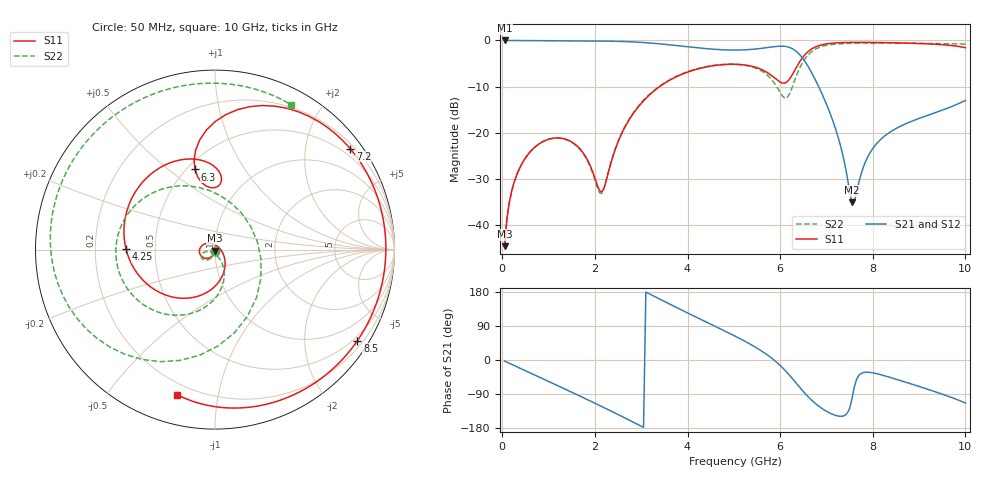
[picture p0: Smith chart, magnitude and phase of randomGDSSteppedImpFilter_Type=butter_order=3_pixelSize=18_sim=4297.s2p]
! freq	dB(S11)	phase(S11)	dB(S12)	phase(S12)
!  dB(S21)	phase(S21)	dB(S22)	phase(S22)
!S-par simulation data
#  GHz  S  DB  R 50
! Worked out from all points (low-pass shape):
!   200 points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, 50 MHz to 10 GHz, reference 50 ohm
!   highest |S21| = -0.01 dB at 50 MHz (marker M1); lowest = -35.1 dB at 7.55 GHz (marker M2)
!   |S21| within 3 dB of the highest: start of sweep to 6.414 GHz
!   lowest |S11| = -44.6 dB at 50 MHz (marker M3), VSWR 1.01, Z = 50 - j0.591 ohm
!   |S11| at or under -10 dB: start of sweep to 3.398 GHz
!   |S22| runs from -44.5 to -0.6 dB; largest |S21 - S12| = 0
!   S11 on the Smith chart (normalised r, x): 50 MHz: 1.00, -0.01; 4.25 GHz: 0.34, +0.00; 6.3 GHz: 0.55, +0.62; 7.2 GHz: 0.31, +2.98; 8.5 GHz: 0.38, -3.38; 10 GHz: 0.14, -0.76
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0.05  -44.55 -93.3  -0.01 -2.9  -0.01 -2.9  -44.55 -92.6
0.2  -32.75 -103.1  -0.02 -11.4  -0.02 -11.4  -32.74 -100.2
0.6  -24.15 -129.5  -0.06 -34.0  -0.06 -34.0  -24.15 -120.3
1.2  -21.11 -169.7  -0.11 -67.9  -0.11 -67.9  -21.15 -148.5
1.75  -24.41 145.9  -0.12 -99.4  -0.12 -99.4  -24.56 -167.2
2.15  -32.84 45.4  -0.14 -122.9  -0.14 -122.9  -33.13 -109.5
2.65  -18.75 -61.8  -0.24 -153.1  -0.24 -153.1  -18.59 -65.5
3.4  -9.98 -121.1  -0.74 160.6  -0.74 160.6  -9.88 -98.9
4.25  -6.09 179.6  -1.64 109.4  -1.64 109.4  -6.02 -141.4
5.05  -5.17 127.2  -2.08 61.5  -2.08 61.5  -5.18 176.7
5.85  -7.88 84.9  -1.37 1.6  -1.37 1.6  -8.91 104.7
6.1  -9.23 93.8  -1.28 -26.6  -1.28 -26.6  -12.50 33.2
6.3  -6.74 104.0  -2.01 -54.3  -2.01 -54.3  -9.03 -49.2
6.5  -3.51 94.1  -4.06 -83.2  -4.06 -83.2  -4.52 -98.2
6.7  -1.72 76.3  -7.35 -108.4  -7.35 -108.4  -2.28 -130.6
7.2  -0.54 36.8  -19.26 -146.3  -19.26 -146.3  -0.79 -178.5
7.55  -0.43 15.1  -35.09 -102.9  -35.09 -102.9  -0.62 160.5
7.9  -0.43 -3.8  -25.05 -32.3  -25.05 -32.3  -0.58 143.5
8.35  -0.49 -25.7  -20.00 -45.1  -20.00 -45.1  -0.59 124.5
8.5  -0.52 -32.6  -19.09 -50.6  -19.09 -50.6  -0.60 118.5
9.3  -0.80 -68.3  -15.82 -81.8  -15.82 -81.8  -0.66 88.2
10  -1.57 -104.8  -12.99 -113.5  -12.99 -113.5  -0.80 62.3
